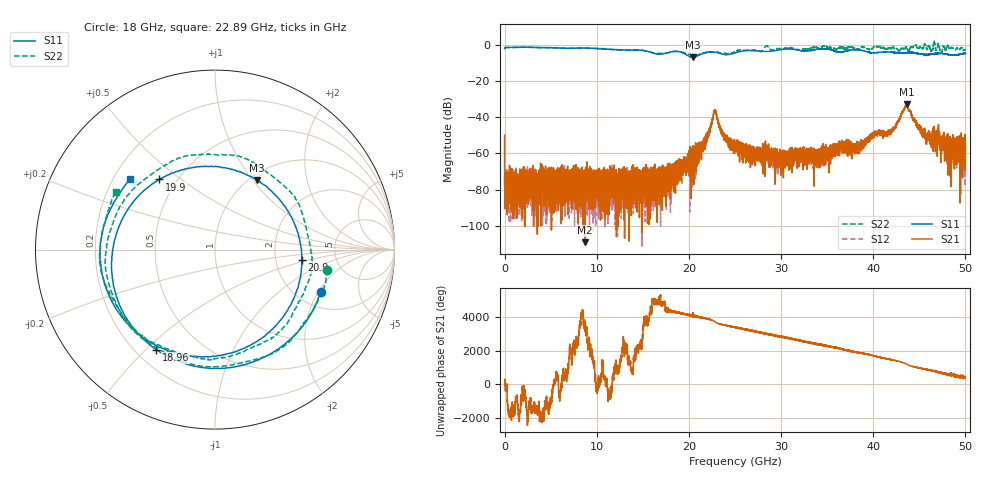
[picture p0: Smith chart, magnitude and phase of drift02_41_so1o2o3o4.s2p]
!Created with skrf (http://scikit-rf.org).
# Hz S RI R 50.0
!freq ReS11 ImS11 ReS21 ImS21 ReS12 ImS12 ReS22 ImS22
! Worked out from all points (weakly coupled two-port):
!   10001 points, 300 kHz to 50 GHz, reference 50 ohm
!   highest |S21| = -32.85 dB at 43.62 GHz (marker M1); lowest = -109.1 dB at 8.745 GHz (marker M2)
!   lowest |S11| = -6.9 dB at 20.4 GHz (marker M3), VSWR 2.64, Z = 54 + j52.3 ohm
!   |S11| at or under -10 dB: nowhere
!   |S22| runs from -5.7 to 2.4 dB; largest |S21 - S12| = 0.0035
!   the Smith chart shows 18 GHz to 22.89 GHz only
!   S11 on the Smith chart (normalised r, x): 18 GHz: 2.67, -2.09; 18.96 GHz: 0.28, -0.54; 19.9 GHz: 0.40, +0.42; 20.9 GHz: 2.83, -0.44; 22.89 GHz: 0.27, +0.34
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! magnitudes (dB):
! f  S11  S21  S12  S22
! 300 kHz  -2.1  -49.8  -50.5  -2.1
! 275.3 MHz  -1.4  -84.4  -74.6  -1.4
! 8.335 GHz  -1.7  -72.5  -77.9  -1.9
! 8.745 GHz  -1.7  -109.1  -81.4  -1.9
! 16.67 GHz  -5.2  -71.2  -73.6  -4.7
! 18 GHz  -4.0  -69.3  -74.0  -4.0
! 18.96 GHz  -3.8  -69.1  -66.9  -3.9
! 19.9 GHz  -6.0  -67.4  -63.8  -5.2
! 20.4 GHz  -6.9  -71.3  -60.8  -5.4
! 20.9 GHz  -6.2  -60.0  -58.0  -5.6
! 21.59 GHz  -4.6  -54.6  -52.4  -4.7
! 22.89 GHz  -4.2  -36.7  -36.7  -3.9
! 23.8 GHz  -5.3  -49.8  -49.6  -4.6
! 25 GHz  -4.5  -55.4  -56.0  -3.9
! 29.57 GHz  -3.0  -61.5  -60.4  -2.1
! 33.34 GHz  -3.0  -60.6  -59.6  -1.6
! 38.12 GHz  -2.8  -59.4  -57.3  -2.4
! 40.27 GHz  -4.4  -48.3  -48.9  -0.9
! 41.67 GHz  -4.0  -47.8  -48.1  -1.9
! 43.62 GHz  -4.3  -32.9  -33.3  -1.5
! 45.61 GHz  -5.4  -50.0  -48.2  0.4
! 50 GHz  -4.8  -55.9  -56.1  -2.7
